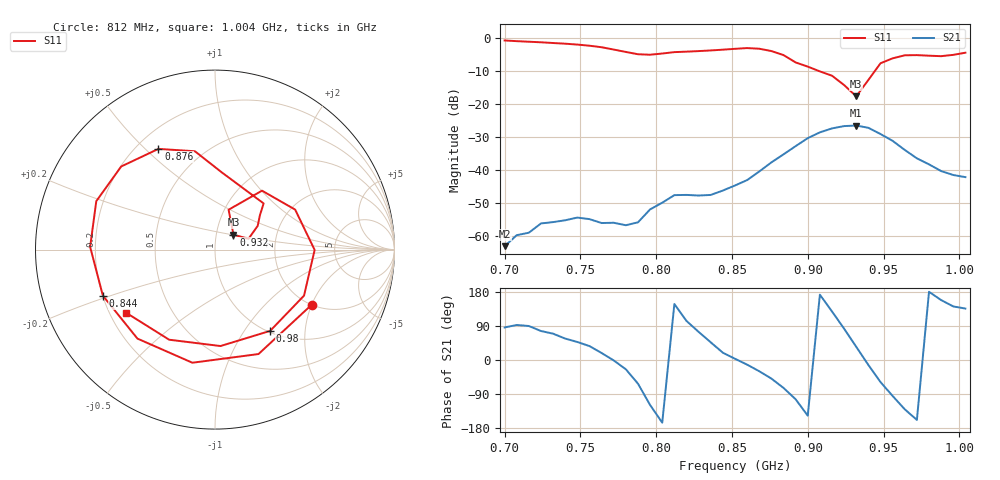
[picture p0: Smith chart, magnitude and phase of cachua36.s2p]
# Hz S RI R 50
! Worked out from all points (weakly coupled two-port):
!   39 points, 700 MHz to 1.004 GHz, reference 50 ohm
!   highest |S21| = -26.43 dB at 932 MHz (marker M1); lowest = -63.0 dB at 700 MHz (marker M2)
!   lowest |S11| = -17.6 dB at 932 MHz (marker M3), VSWR 1.30, Z = 60.5 + j10.2 ohm
!   |S11| at or under -10 dB: 908 MHz to 944.1 MHz (36.14 MHz wide, 3.9 % of centre)
!   S12 and S22 are empty: the file has one direction only
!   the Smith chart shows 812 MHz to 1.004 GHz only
!   S11 on the Smith chart (normalised r, x): 812 MHz: 2.00, -2.00; 844 MHz: 0.20, -0.19; 876 MHz: 0.29, +0.55; 932 MHz: 1.21, +0.20; 980 MHz: 1.02, -1.32; 1.004 GHz: 0.27, -0.30
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7e8  0.7668 0.5298  4.98e-05 0.000702  0 0  0 0
7.24e8  0.834 -0.2612  0.000363 0.00151  0 0  0 0
7.4e8  0.4435 -0.7045  0.000961 0.00145  0 0  0 0
7.56e8  -0.1991 -0.7498  0.00145 0.00108  0 0  0 0
7.72e8  -0.6531 -0.1818  0.00159 -3.29e-05  0 0  0 0
7.8e8  -0.5783 0.2338  0.00133 -0.000608  0 0  0 0
7.88e8  -0.2207 0.5316  0.000748 -0.00144  0 0  0 0
7.96e8  0.2661 0.4995  -0.00123 -0.00223  0 0  0 0
8.04e8  0.5731 0.1413  -0.00311 -0.000811  0 0  0 0
8.12e8  0.5383 -0.3075  -0.00354 0.00224  0 0  0 0
8.28e8  -0.1259 -0.6303  0.00112 0.00398  0 0  0 0
8.44e8  -0.6245 -0.257  0.00464 0.00162  0 0  0 0
8.52e8  -0.6957 0.015  0.00586 0.000331  0 0  0 0
8.76e8  -0.3153 0.5611  0.00862 -0.00992  0 0  0 0
9e8  0.2709 0.2573  -0.0257 -0.0168  0 0  0 0
9.08e8  0.2505 0.1926  -0.0372 0.00495  0 0  0 0
9.32e8  0.103 0.0828  0.0392 0.0271  0 0  0 0
9.48e8  0.2619 0.3283  0.0186 -0.0302  0 0  0 0
9.56e8  0.4466 0.2229  -0.00239 -0.0278  0 0  0 0
9.64e8  0.5551 -0.00192  -0.0131 -0.0155  0 0  0 0
9.8e8  0.3072 -0.4529  -0.0123 7.61e-06  0 0  0 0
1.004e9  -0.4958 -0.3514  -0.00562 0.00549  0 0  0 0
